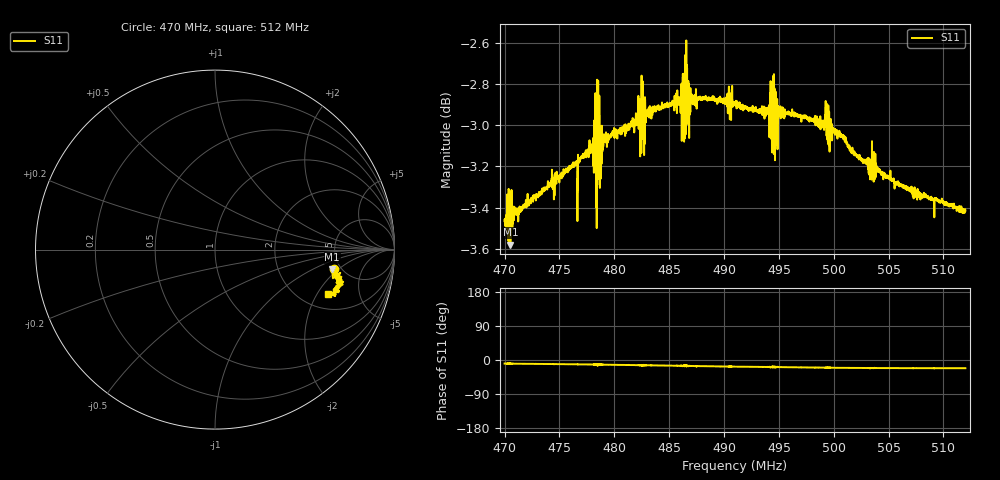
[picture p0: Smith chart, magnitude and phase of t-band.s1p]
! Calibrated averaged scanner-service zoom
# Hz S RI R 50
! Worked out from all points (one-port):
!   4001 points, 470 MHz to 512 MHz, reference 50 ohm
!   lowest |S11| = -3.6 dB at 470.5 MHz (marker M1), VSWR 4.92, Z = 212 - j83.1 ohm
!   |S11| at or under -10 dB: nowhere
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4.7e8  0.6619 -0.1099
4.70525e8  0.653 -0.1102
4.7525e8  0.6765 -0.1315
4.77938e8  0.6842 -0.1442
4.78253e8  0.6722 -0.161
4.783685e8  0.6891 -0.1358
4.78673e8  0.6874 -0.1536
4.789355e8  0.6824 -0.1484
4.805e8  0.688 -0.1571
4.82348e8  0.683 -0.1637
4.827785e8  0.6837 -0.1707
4.8575e8  0.6916 -0.1913
4.862225e8  0.6876 -0.1862
4.8659e8  0.7101 -0.1793
4.868105e8  0.6837 -0.1973
4.875665e8  0.6908 -0.198
4.91e8  0.6834 -0.2148
4.94423e8  0.6859 -0.2369
4.9478e8  0.6652 -0.2188
4.9625e8  0.6736 -0.2339
4.989275e8  0.665 -0.244
4.994e8  0.6578 -0.2467
4.998305e8  0.6607 -0.2441
5.009015e8  0.657 -0.2501
5.015e8  0.6536 -0.2484
5.03264e8  0.648 -0.2505
5.0675e8  0.6362 -0.2497
5.12e8  0.6273 -0.2489
